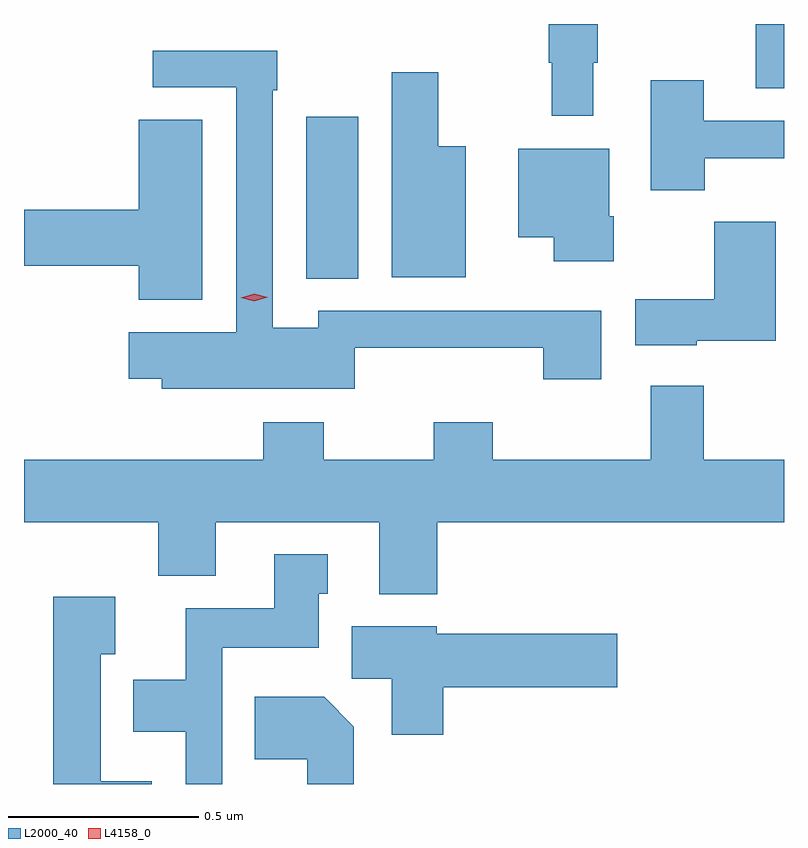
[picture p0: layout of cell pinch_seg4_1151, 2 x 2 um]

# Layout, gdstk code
import gdstk
lib = gdstk.Library(unit=1e-6, precision=1e-09)
def R(c, l, rs):  # rectangles x0, y0, x1, y1
    for r in rs: c.add(gdstk.rectangle(r[:2], r[2:], *l))
def P(c, l, *ps):  # polygons
    for p in ps: c.add(gdstk.Polygon(p, *l))
L2000_40 = (2000, 40)
L4158_0 = (4158, 0)

pinch_seg4_1151 = lib.new_cell('pinch_seg4_1151')
R(pinch_seg4_1151, L2000_40, [(495.473,830.761,495.61,831.187), (496.655,831.262,496.73,831.431)])
P(pinch_seg4_1151, L2000_40, [(496.228,831.329),(496.24,831.329),(496.24,831.431),(496.111,831.431),(496.111,831.329),(496.119,831.329),(496.119,831.189),(496.228,831.189)],
  [(495.6,830.579),(496.097,830.579),(496.097,830.496),(496.249,830.496),(496.249,830.677),(496.013,830.677),(496.013,830.676),(495.504,830.676),(495.504,830.632),(495.384,830.632),(495.384,831.257),(495.397,831.257),(495.397,831.36),(495.069,831.36),(495.069,831.264),(495.288,831.264),(495.288,830.62),(495.006,830.62),(495.006,830.498),(495.093,830.498),(495.093,830.471),(495.6,830.471)],
  [(495.892,831.109),(495.82,831.109),(495.82,831.304),(495.698,831.304),(495.698,830.765),(495.892,830.765)],
  [(496.522,831.078),(496.73,831.078),(496.73,831.177),(496.519,831.177),(496.519,831.283),(496.379,831.283),(496.379,830.993),(496.522,830.993)],
  [(495.199,831.179),(495.032,831.179),(495.032,830.942),(494.73,830.942),(494.73,830.795),(495.032,830.795),(495.032,830.705),(495.199,830.705)],
  [(496.282,830.925),(496.27,830.925),(496.27,831.103),(496.031,831.103),(496.031,830.87),(496.124,830.87),(496.124,830.807),(496.282,830.807)],
  [(496.5,830.597),(496.708,830.597),(496.708,830.911),(496.546,830.911),(496.546,830.707),(496.338,830.707),(496.338,830.585),(496.5,830.585)],
  [(495.818,830.12),(496.73,830.12),(496.73,830.284),(496.519,830.284),(496.519,830.479),(496.379,830.479),(496.379,830.284),(495.963,830.284),(495.963,830.383),(495.808,830.383),(495.808,830.284),(495.519,830.284),(495.519,830.383),(495.359,830.383),(495.359,830.284),(494.73,830.284),(494.73,830.12),(495.083,830.12),(495.083,829.979),(495.235,829.979),(495.235,830.12),(495.665,830.12),(495.665,829.931),(495.818,829.931)],
  [(495.252,829.79),(495.505,829.79),(495.505,829.932),(495.529,829.932),(495.529,830.035),(495.389,830.035),(495.389,829.894),(495.155,829.894),(495.155,829.706),(495.017,829.706),(495.017,829.568),(495.156,829.568),(495.156,829.431),(495.252,829.431)],
  [(495.066,829.438),(494.932,829.438),(494.932,829.772),(494.97,829.772),(494.97,829.924),(494.807,829.924),(494.807,829.431),(495.066,829.431)],
  [(495.833,829.685),(496.291,829.685),(496.291,829.827),(495.816,829.827),(495.816,829.846),(495.593,829.846),(495.593,829.708),(495.698,829.708),(495.698,829.56),(495.833,829.56)],
  [(495.598,829.582),(495.52,829.66),(495.337,829.66),(495.337,829.496),(495.476,829.496),(495.476,829.431),(495.598,829.431)])
P(pinch_seg4_1151, L4158_0, [(495.336,830.701),(495.301,830.711),(495.301,830.711),(495.301,830.711),(495.336,830.721),(495.371,830.712),(495.371,830.712),(495.371,830.712)])

lib.write_gds('pinch_seg4_1151.gds')
